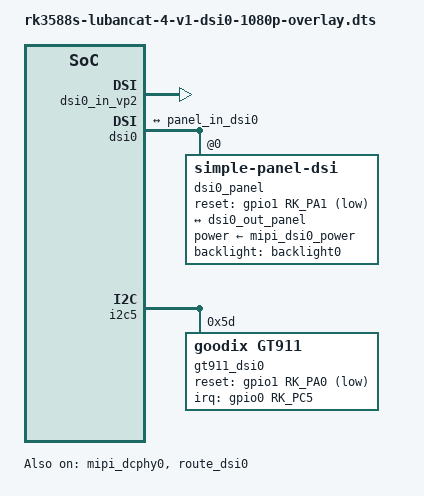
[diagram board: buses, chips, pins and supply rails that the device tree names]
/dts-v1/;
/plugin/;

#include <dt-bindings/gpio/gpio.h>
#include <dt-bindings/pinctrl/rockchip.h>
#include <dt-bindings/display/drm_mipi_dsi.h>
#include <dt-bindings/interrupt-controller/irq.h>

/ {
	fragment@0 {
		target = <&mipi_dcphy0>;

		__overlay__ {
			status = "okay";
		};
	};

	fragment@1 {
		target = <&route_dsi0>;

		__overlay__ {
			status = "okay";
			connect = <&vp2_out_dsi0>;
		};
	};

	fragment@2 {
		target = <&dsi0_in_vp2>;

		__overlay__ {
			status = "okay";
		};
	};


	fragment@3 {
		target = <&dsi0>;

		__overlay__ {
			status = "okay";
			#address-cells = <1>;
			#size-cells = <0>;

			dsi0_panel: panel@0 {
				status = "okay";
				compatible = "simple-panel-dsi";
				reg = <0>;
				backlight = <&backlight0>;
				power-supply = <&mipi_dsi0_power>;
				reset-gpios = <&gpio1 RK_PA1 GPIO_ACTIVE_LOW>;

				enable-delay-ms = <35>;
				prepare-delay-ms = <6>;
				reset-delay-ms = <10>;
				init-delay-ms = <50>;
				unprepare-delay-ms = <0>;
				disable-delay-ms = <20>;

				size,width = <74>;
				size,height = <133>;

				dsi,flags = <(MIPI_DSI_MODE_VIDEO | MIPI_DSI_MODE_VIDEO_BURST | MIPI_DSI_MODE_LPM | MIPI_DSI_MODE_EOT_PACKET)>;
				dsi,format = <MIPI_DSI_FMT_RGB888>;
				dsi,lanes  = <4>;

				panel-init-sequence = [
					39 00 04 B9 FF 83 99
					15 00 02 D2 77
					39 00 10 B1 02 04 74 94 01 32 33 11 11 AB 4D 56 73 02 02
					39 00 10 B2 00 80 80 AE 05 07 5A 11 00 00 10 1E 70 03 D4	
					15 00 02 36 02
					39 00 2D B4 00 FF 02 C0 02 C0 00 00 08 00 04 06 00 32 04 0A 08 21 03 01 00 0F B8 8B 02 C0 02 C0 00 00 08 00 04 06 00 32 04 0A 08 01 00 0F B8 01		
					39 05 22 D3 00 00 00 00 00 00 06 00 00 10 04 00 04 00 00 00 00 00 00 00 00 00 00 01 00 05 05 07 00 00 00 05 40						
					39 05 21 D5 18 18 19 19 18 18 21 20 01 00 07 06 05 04 03 02 18 18 18 18 18 18 2F 2F 30 30 31 31 18 18 18 18		
					39 05 21 D6 18 18 19 19 40 40 20 21 06 07 00 01 02 03 04 05 40 40 40 40 40 40 2F 2F 30 30 31 31 40 40 40 40			
					39 00 11 D8 A2 AA 02 A0 A2 A8 02 A0 B0 00 00 00 B0 00 00 00			
					15 00 02 BD 01			
					39 00 11 D8 B0 00 00 00 B0 00 00 00 E2 AA 03 F0 E2 AA 03 F0			
					15 00 02 BD 02			
					39 00 09 D8 E2 AA 03 F0 E2 AA 03 F0			
					15 00 02 BD 00			
					39 00 03 B6 8D 8D
					39 05 37 E0 00 0E 19 13 2E 39 48 44 4D 57 5F 66 6C 76 7F 85 8A 95 9A A4 9B AB B0 5C 58 64 77 00 0E 19 13 2E 39 48 44 4D 57 5F 66 6C 76 7F 85 8A 95 9A A4 9B AB B0 5C 58 64 77
					05 C8 01 11 
					05 C8 01 29 
				];

				panel-exit-sequence = [
					05 78 01 28
					05 00 01 10
				];

				disp0_timings0: display-timings {
					native-mode = <&dsi0_timing0>;
					dsi0_timing0: timing0 {
						clock-frequency = <131376000>;
						hactive = <1080>;
						vactive = <1920>;
						hsync-len = <10>;
						hback-porch = <20>;
						hfront-porch = <10>;
						vsync-len = <5>;
						vback-porch = <20>;
						vfront-porch = <10>;
						hsync-active = <0>;
						vsync-active = <0>;
						de-active = <0>;
						pixelclk-active = <0>;
					};
				};

				ports {
					#address-cells = <1>;
					#size-cells = <0>;
					port@0 {
						reg = <0>;
						panel_in_dsi0: endpoint {
							remote-endpoint = <&dsi0_out_panel>;
						};
					};
				};
			};

			ports {
				#address-cells = <1>;
				#size-cells = <0>;

				port@1 {
					reg = <1>;
					dsi0_out_panel: endpoint {
						remote-endpoint = <&panel_in_dsi0>;
					};
				};
			};
		};
	};

	fragment@4 {
		target = <&i2c5>;

		__overlay__ {
			status = "okay";
			#address-cells = <1>;
			#size-cells = <0>;
			pinctrl-names = "default";
			pinctrl-0 = <&i2c5m3_xfer>;

			gt911_dsi0: gt911@5d {
				status = "okay";
				compatible = "goodix,gt911";
				reg = <0x5d>;
				interrupt-parent = <&gpio0>;
				interrupts = <RK_PC5 IRQ_TYPE_LEVEL_LOW>;
				reset-gpios = <&gpio1 RK_PA0 GPIO_ACTIVE_LOW>;
				irq-gpios = <&gpio0 RK_PC5 GPIO_ACTIVE_HIGH>;
				touchscreen-inverted-x = <1>;
				touchscreen-inverted-y = <1>;
			};
		};
	};
};

